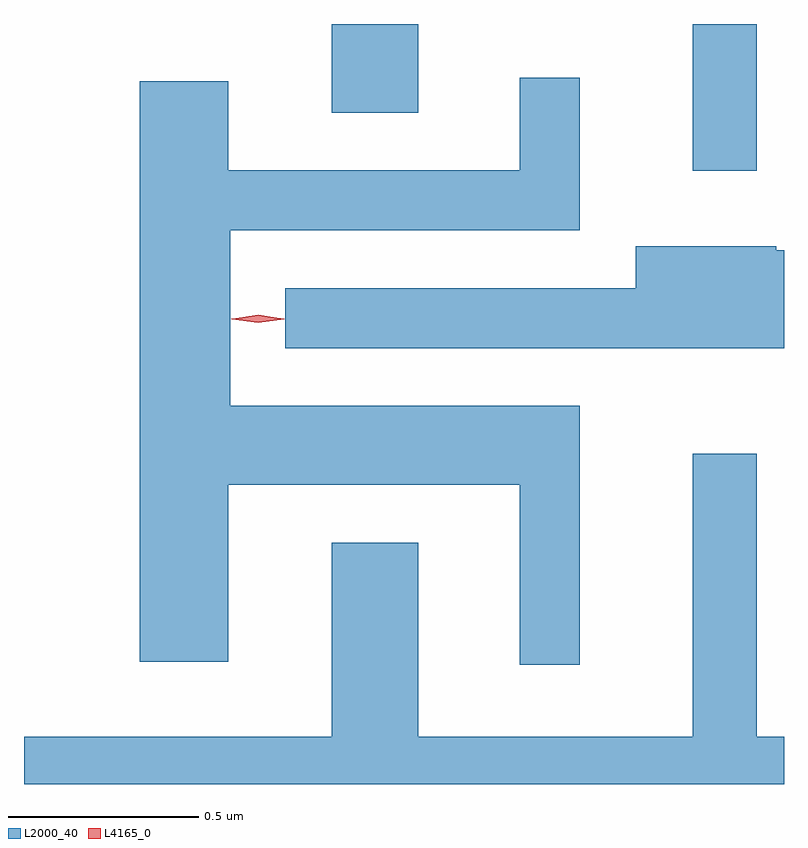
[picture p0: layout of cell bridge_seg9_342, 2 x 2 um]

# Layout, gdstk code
import gdstk
lib = gdstk.Library(unit=1e-6, precision=1e-09)
def R(c, l, rs):  # rectangles x0, y0, x1, y1
    for r in rs: c.add(gdstk.rectangle(r[:2], r[2:], *l))
def P(c, l, *ps):  # polygons
    for p in ps: c.add(gdstk.Polygon(p, *l))
L2000_40 = (2000, 40)
L4165_0 = (4165, 0)

bridge_seg9_342 = lib.new_cell('bridge_seg9_342')
R(bridge_seg9_342, L2000_40, [(724.021,2026.873,724.189,2027.259), (723.071,2027.026,723.299,2027.259)])
P(bridge_seg9_342, L2000_40, [(723.724,2026.254),(722.804,2026.254),(722.804,2026.716),(723.724,2026.716),(723.724,2027.118),(723.566,2027.118),(723.566,2026.874),(722.799,2026.874),(722.799,2027.109),(722.566,2027.109),(722.566,2025.581),(722.799,2025.581),(722.799,2026.046),(723.566,2026.046),(723.566,2025.573),(723.724,2025.573)],
  [(724.261,2026.664),(724.24,2026.664),(724.24,2026.674),(723.871,2026.674),(723.871,2026.564),(722.948,2026.564),(722.948,2026.406),(724.261,2026.406)],
  [(724.261,2025.384),(724.189,2025.384),(724.189,2026.128),(724.021,2026.128),(724.021,2025.384),(723.299,2025.384),(723.299,2025.894),(723.071,2025.894),(723.071,2025.384),(722.261,2025.384),(722.261,2025.259),(724.261,2025.259)])
P(bridge_seg9_342, L4165_0, [(722.877,2026.474),(722.811,2026.483),(722.81,2026.484),(722.811,2026.484),(722.877,2026.494),(722.942,2026.484),(722.943,2026.484),(722.942,2026.483)],
  [(722.877,2026.473),(722.808,2026.482),(722.807,2026.483),(722.808,2026.483),(722.877,2026.493),(722.946,2026.483),(722.946,2026.483),(722.946,2026.482)])

lib.write_gds('bridge_seg9_342.gds')
